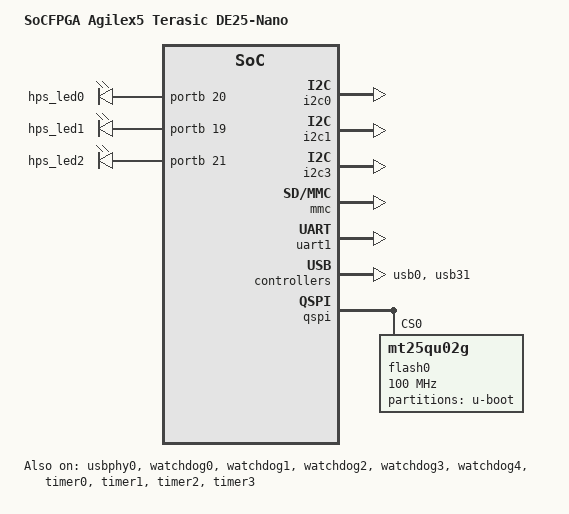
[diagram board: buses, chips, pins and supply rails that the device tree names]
// SPDX-License-Identifier:     GPL-2.0
/*
 * Copyright (C) 2026 Altera Corporation <www.altera.com>
 */
#include "socfpga_agilex5.dtsi"

/ {
	model = "SoCFPGA Agilex5 Terasic DE25-Nano";

	aliases {
		serial0 = &uart1;
		ethernet0 = &gmac0;
	};

	leds {
		compatible = "gpio-leds";
		hps0 {
			label = "hps_led0";
			gpios = <&portb 20 GPIO_ACTIVE_HIGH>;
		};

		hps1 {
			label = "hps_led1";
			gpios = <&portb 19 GPIO_ACTIVE_HIGH>;
		};

		hps2 {
			label = "hps_led2";
			gpios = <&portb 21 GPIO_ACTIVE_HIGH>;
		};
	};

	memory {
		device_type = "memory";
		/* We expect the bootloader to fill in the reg */
		reg = <0 0 0 0>;
	};

	soc {
		clocks {
			osc1 {
				clock-frequency = <25000000>;
			};
		};
	};
};

&gpio0 {
	status = "okay";
};

&gpio1 {
	status = "okay";
};

&i2c0 {
	status = "okay";
};

&i2c1 {
	status = "okay";
};

&i2c3 {
	status = "okay";
};

&mmc {
	status = "okay";
	sdhci-caps-mask = <0x00002007 0x0000ff00>;
};

&sd_emmc_power {
	bootph-all;
};

&sd_io_1v8_reg {
	gpios = <&portb 3 GPIO_ACTIVE_HIGH>;
	bootph-all;
};

&uart1 {
	status = "okay";
	bootph-all;
};

&usbphy0 {
	status = "okay";
};

&usb0 {
	status = "okay";
	disable-over-current;
};

&usb31 {
	status = "okay";
};

&watchdog0 {
	status = "okay";
};

&watchdog1 {
	status = "okay";
};

&watchdog2 {
	status = "okay";
};

&watchdog3 {
	status = "okay";
};

&watchdog4 {
	status = "okay";
};

&timer0 {
	status = "okay";
};

&timer1 {
	status = "okay";
};

&timer2 {
	status = "okay";
};

&timer3 {
	status = "okay";
};

&qspi {
	flash0: flash@0 {
		#address-cells = <1>;
		#size-cells = <1>;
		compatible = "mt25qu02g";
		reg = <0>;
		spi-max-frequency = <100000000>;

		m25p,fast-read;
		cdns,page-size = <256>;
		cdns,block-size = <16>;
		cdns,read-delay = <1>;
		cdns,tshsl-ns = <50>;
		cdns,tsd2d-ns = <50>;
		cdns,tchsh-ns = <4>;
		cdns,tslch-ns = <4>;

		partitions {
			compatible = "fixed-partitions";
			#address-cells = <1>;
			#size-cells = <1>;

			qspi_boot: partition@0 {
				label = "u-boot";
				reg = <0x0 0x01000000>;
			};
		};
	};
};

&nand {
	status = "disabled";

	flash1: flash@0 {
		reg = <0>;
		#address-cells = <1>;
		#size-cells = <1>;

		partition@0 {
			label = "u-boot";
			reg = <0 0x200000>;
		};
		partition@200000 {
			label = "root";
			reg = <0x200000 0x3fe00000>;
		};
	};
};
